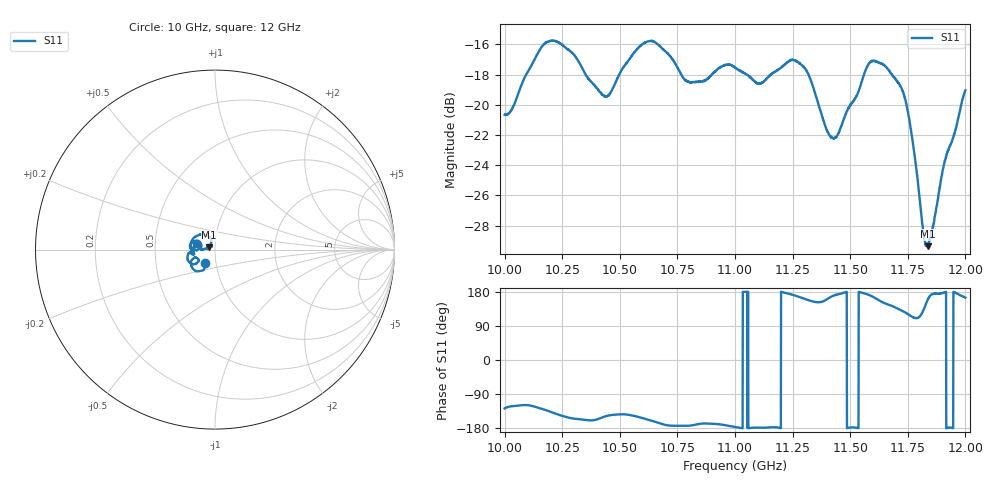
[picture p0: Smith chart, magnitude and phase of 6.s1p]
[Version] 2.0
! Rohde & Schwarz Vector Network Analyzer
! Rohde-Schwarz,ZNL20-2Port,1323001220200009,1.71.1.10-23.02.1.238
! Port Assignments:
! Nominal Port -> Actual Test Port
!  1 -> 1
! Created: GMT 2024-08-27 13:50:32
# Hz S DB R 50
[Number of Ports] 1
! freq[Hz]  S11[mag dB]  S11[ang]
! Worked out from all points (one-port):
!   2001 points, 10 GHz to 12 GHz, reference 50 ohm
!   lowest |S11| = -29.4 dB at 11.84 GHz (marker M1), VSWR 1.07, Z = 46.9 + j1.11 ohm
!   |S11| at or under -10 dB: start of sweep to end of sweep
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[Number of Frequencies] 28
[Network Data]
1e10  -20.66 -127.7
1.0031e10  -20.31 -122.1
1.0166e10  -16.08 -129.8
1.025e10  -16.04 -147.4
1.0364e10  -18.27 -159.2
1.0432e10  -19.40 -149.8
1.0457e10  -19.28 -145.9
1.05e10  -17.92 -143.4
1.0629e10  -15.79 -158.7
1.075e10  -17.53 -173.5
1.0814e10  -18.52 -172.2
1.1e10  -17.54 -176.8
1.1105e10  -18.61 -178.5
1.125e10  -17.02 171.9
1.1316e10  -17.90 158.4
1.1418e10  -22.11 167.0
1.1445e10  -22.01 173.0
1.15e10  -20.01 -178.0
1.1574e10  -17.46 173.1
1.1603e10  -17.10 165.4
1.1708e10  -18.53 135.0
1.175e10  -20.47 121.0
1.1781e10  -23.56 110.9
1.1818e10  -28.50 131.4
1.1837e10  -29.35 159.7
1.1857e10  -28.22 174.2
1.1911e10  -23.72 178.4
1.2e10  -19.05 164.4
[End]
